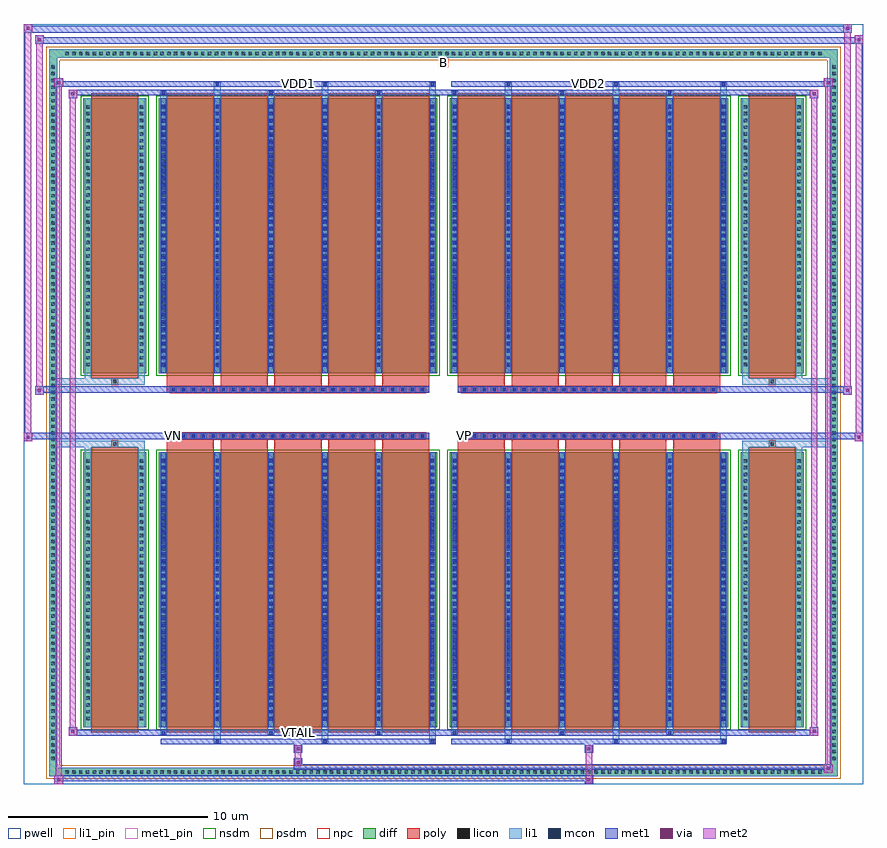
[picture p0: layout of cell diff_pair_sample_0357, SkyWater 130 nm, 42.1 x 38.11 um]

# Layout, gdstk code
import gdstk
lib = gdstk.Library(unit=1e-6, precision=5e-09)
def R(c, l, rs):  # rectangles x0, y0, x1, y1
    for r in rs: c.add(gdstk.rectangle(r[:2], r[2:], *l))
def A(c, l, x, y, w, h, nx, ny, dx, dy):  # array of equal rectangles
    R(c, l, [(x+i*dx, y+j*dy, x+i*dx+w, y+j*dy+h) for i in range(nx) for j in range(ny)])
def P(c, l, *ps):  # polygons
    for p in ps: c.add(gdstk.Polygon(p, *l))
pwell = (64, 44)
diff = (65, 20)
poly = (66, 20)
licon = (66, 44)
li1_pin = (67, 16)
li1 = (67, 20)
mcon = (67, 44)
met1_pin = (68, 16)
met1 = (68, 20)
via = (68, 44)
met2 = (69, 20)
nsdm = (93, 44)
psdm = (94, 20)
npc = (95, 20)

diff_pair_sample_0357 = lib.new_cell('diff_pair_sample_0357')
R(diff_pair_sample_0357, pwell, [(-21.05,-18.62,21.05,19.49), (-18.37,-16.81,-0.01,-0.805), (0.01,-16.81,18.37,-0.805), (-18.37,0.805,-0.01,16.81), (0.01,0.805,18.37,16.81)])
A(diff_pair_sample_0357, diff, -19.075, -18.22, 0.41, 0.41, 112, 2, 0.34, 36.03)
A(diff_pair_sample_0357, diff, -19.78, -17.545, 0.41, 0.41, 1, 103, 0, 0.34)
A(diff_pair_sample_0357, diff, 19.37, -17.545, 0.41, 0.41, 1, 103, 0, 0.34)
R(diff_pair_sample_0357, diff, [(-19.075,-18.22,19.075,-17.81), (-19.78,-17.545,-19.37,17.545), (19.37,-17.545,19.78,17.545), (-18.06,-15.765,-14.91,-1.985), (-14.27,-15.765,-0.32,-1.985), (0.32,-15.765,14.27,-1.985), (14.91,-15.765,18.06,-1.985), (-18.06,1.985,-14.91,15.765), (-14.27,1.985,-0.32,15.765), (0.32,1.985,14.27,15.765), (14.91,1.985,18.06,15.765), (-19.075,17.81,19.075,18.22)])
P(diff_pair_sample_0357, diff, [(19.78,18.22),(-19.78,18.22),(-19.78,-17.81),(-19.37,-17.81),(-19.37,17.81),(19.37,17.81),(19.37,-17.81),(-19.37,-17.81),(-19.78,-17.81),(-19.78,-18.22),(19.78,-18.22)])
A(diff_pair_sample_0357, poly, -13.88, -16.015, 2.37, 14.28, 5, 2, 2.7, 17.75)
A(diff_pair_sample_0357, poly, 0.71, -16.015, 2.37, 14.28, 5, 2, 2.7, 17.75)
A(diff_pair_sample_0357, poly, -13.88, -1.735, 2.37, 0.4, 5, 2, 2.7, 3.07)
A(diff_pair_sample_0357, poly, 0.71, -1.735, 2.37, 0.4, 5, 2, 2.7, 3.07)
A(diff_pair_sample_0357, poly, -13.71, -1.335, 0.33, 0.33, 26, 2, 0.5, 2.34)
A(diff_pair_sample_0357, poly, 0.88, -1.335, 0.33, 0.33, 26, 2, 0.5, 2.34)
R(diff_pair_sample_0357, poly, [(-17.67,-16.015,-15.3,-1.735), (15.3,-16.015,17.67,-1.735), (-16.65,-1.735,-16.32,-1.405), (-16.65,-1.735,-16.32,-1.405), (16.32,-1.735,16.65,-1.405), (16.32,-1.735,16.65,-1.405), (-13.88,-1.335,-0.71,-1.005), (0.71,-1.335,13.88,-1.005), (-13.88,1.005,-0.71,1.335), (0.71,1.005,13.88,1.335), (-16.65,1.405,-16.32,1.735), (-16.65,1.405,-16.32,1.735), (16.32,1.405,16.65,1.735), (16.32,1.405,16.65,1.735), (-17.67,1.735,-15.3,16.015), (15.3,1.735,17.67,16.015)])
A(diff_pair_sample_0357, licon, -18.955, -18.1, 0.17, 0.17, 112, 2, 0.34, 36.03)
A(diff_pair_sample_0357, licon, -19.66, -17.425, 0.17, 0.17, 1, 103, 0, 0.34)
A(diff_pair_sample_0357, licon, 19.49, -17.425, 0.17, 0.17, 1, 103, 0, 0.34)
A(diff_pair_sample_0357, licon, -17.92, -15.42, 0.17, 0.17, 1, 39, 0, 0.34)
A(diff_pair_sample_0357, licon, -15.22, -15.42, 0.17, 0.17, 1, 39, 0, 0.34)
A(diff_pair_sample_0357, licon, -14.13, -15.42, 0.17, 0.17, 6, 39, 2.7, 0.34)
A(diff_pair_sample_0357, licon, 0.46, -15.42, 0.17, 0.17, 6, 39, 2.7, 0.34)
A(diff_pair_sample_0357, licon, 15.05, -15.42, 0.17, 0.17, 1, 39, 0, 0.34)
A(diff_pair_sample_0357, licon, 17.75, -15.42, 0.17, 0.17, 1, 39, 0, 0.34)
A(diff_pair_sample_0357, licon, -13.63, -1.255, 0.17, 0.17, 26, 2, 0.5, 2.34)
A(diff_pair_sample_0357, licon, 0.96, -1.255, 0.17, 0.17, 26, 2, 0.5, 2.34)
A(diff_pair_sample_0357, licon, -17.92, 2.33, 0.17, 0.17, 1, 39, 0, 0.34)
A(diff_pair_sample_0357, licon, -15.22, 2.33, 0.17, 0.17, 1, 39, 0, 0.34)
A(diff_pair_sample_0357, licon, -14.13, 2.33, 0.17, 0.17, 6, 39, 2.7, 0.34)
A(diff_pair_sample_0357, licon, 0.46, 2.33, 0.17, 0.17, 6, 39, 2.7, 0.34)
A(diff_pair_sample_0357, licon, 15.05, 2.33, 0.17, 0.17, 1, 39, 0, 0.34)
A(diff_pair_sample_0357, licon, 17.75, 2.33, 0.17, 0.17, 1, 39, 0, 0.34)
R(diff_pair_sample_0357, licon, [(-16.57,-1.655,-16.4,-1.485), (16.4,-1.655,16.57,-1.485), (-16.57,1.485,-16.4,1.655), (16.4,1.485,16.57,1.655)])
R(diff_pair_sample_0357, li1_pin, [(-0.25,17.31,0.25,17.81)])
A(diff_pair_sample_0357, li1, -19.035, -18.18, 0.33, 0.33, 112, 2, 0.34, 36.03)
A(diff_pair_sample_0357, li1, -19.74, -17.505, 0.33, 0.33, 1, 103, 0, 0.34)
A(diff_pair_sample_0357, li1, 19.41, -17.505, 0.33, 0.33, 1, 103, 0, 0.34)
A(diff_pair_sample_0357, li1, -11.51, -16.57, 0.33, 0.805, 3, 2, 5.4, 32.335)
A(diff_pair_sample_0357, li1, -11.43, -16.57, 0.17, 0.17, 3, 2, 5.4, 32.97)
A(diff_pair_sample_0357, li1, 3.08, -16.57, 0.33, 0.805, 3, 2, 5.4, 32.335)
A(diff_pair_sample_0357, li1, 3.16, -16.57, 0.17, 0.17, 3, 2, 5.4, 32.97)
A(diff_pair_sample_0357, li1, -14.21, -16.14, 0.33, 0.375, 3, 2, 5.4, 31.905)
A(diff_pair_sample_0357, li1, -14.13, -16.14, 0.17, 0.17, 3, 2, 5.4, 32.11)
A(diff_pair_sample_0357, li1, 0.38, -16.14, 0.33, 0.375, 3, 2, 5.4, 31.905)
A(diff_pair_sample_0357, li1, 0.46, -16.14, 0.17, 0.17, 3, 2, 5.4, 32.11)
A(diff_pair_sample_0357, li1, -14.21, -15.765, 0.33, 13.78, 6, 2, 2.7, 17.75)
A(diff_pair_sample_0357, li1, 0.38, -15.765, 0.33, 13.78, 6, 2, 2.7, 17.75)
A(diff_pair_sample_0357, li1, -18, -15.5, 0.33, 0.33, 1, 39, 0, 0.34)
A(diff_pair_sample_0357, li1, -15.3, -15.5, 0.33, 0.33, 1, 39, 0, 0.34)
A(diff_pair_sample_0357, li1, -14.21, -15.5, 0.33, 0.33, 6, 39, 2.7, 0.34)
A(diff_pair_sample_0357, li1, 0.38, -15.5, 0.33, 0.33, 6, 39, 2.7, 0.34)
A(diff_pair_sample_0357, li1, 14.97, -15.5, 0.33, 0.33, 1, 39, 0, 0.34)
A(diff_pair_sample_0357, li1, 17.67, -15.5, 0.33, 0.33, 1, 39, 0, 0.34)
A(diff_pair_sample_0357, li1, -14.13, -15.44, 0.17, 0.17, 6, 37, 2.7, 0.36)
A(diff_pair_sample_0357, li1, -14.13, -15.44, 0.17, 13.13, 6, 2, 2.7, 17.75)
A(diff_pair_sample_0357, li1, 0.46, -15.44, 0.17, 0.17, 6, 37, 2.7, 0.36)
A(diff_pair_sample_0357, li1, 0.46, -15.44, 0.17, 13.13, 6, 2, 2.7, 17.75)
A(diff_pair_sample_0357, li1, -13.71, -1.335, 0.33, 0.33, 26, 2, 0.5, 2.34)
A(diff_pair_sample_0357, li1, 0.88, -1.335, 0.33, 0.33, 26, 2, 0.5, 2.34)
A(diff_pair_sample_0357, li1, -18, 2.25, 0.33, 0.33, 1, 39, 0, 0.34)
A(diff_pair_sample_0357, li1, -15.3, 2.25, 0.33, 0.33, 1, 39, 0, 0.34)
A(diff_pair_sample_0357, li1, -14.21, 2.25, 0.33, 0.33, 6, 39, 2.7, 0.34)
A(diff_pair_sample_0357, li1, 0.38, 2.25, 0.33, 0.33, 6, 39, 2.7, 0.34)
A(diff_pair_sample_0357, li1, 14.97, 2.25, 0.33, 0.33, 1, 39, 0, 0.34)
A(diff_pair_sample_0357, li1, 17.67, 2.25, 0.33, 0.33, 1, 39, 0, 0.34)
A(diff_pair_sample_0357, li1, -14.13, 2.31, 0.17, 0.17, 6, 37, 2.7, 0.36)
A(diff_pair_sample_0357, li1, 0.46, 2.31, 0.17, 0.17, 6, 37, 2.7, 0.36)
R(diff_pair_sample_0357, li1, [(-19.78,-18.22,-19.37,-17.81), (-19.78,-18.22,-19.37,-17.81), (-19.37,-18.22,19.37,-17.81), (19.37,-18.22,19.78,-17.81), (19.37,-18.22,19.78,-17.81), (-19.78,-17.81,-19.37,17.81), (19.37,-17.81,19.78,17.81), (-18,-15.765,-17.67,-1.985), (-15.3,-15.765,-14.97,-1.985), (14.97,-15.765,15.3,-1.985), (17.67,-15.765,18,-1.985), (-18,-1.985,-17.67,-1.405), (-15.3,-1.985,-14.97,-1.405), (14.97,-1.985,15.3,-1.405), (17.67,-1.985,18,-1.405), (-19.78,-1.735,-16.65,-1.405), (-18,-1.735,-16.65,-1.405), (-16.65,-1.735,-16.32,-1.405), (-16.32,-1.735,-14.97,-1.405), (14.97,-1.735,16.32,-1.405), (16.32,-1.735,16.65,-1.405), (16.32,-1.735,19.78,-1.405), (16.65,-1.735,18,-1.405), (-19.78,1.405,-16.65,1.735), (-18,1.405,-16.65,1.735), (-18,1.405,-17.67,1.985), (-16.65,1.405,-16.32,1.735), (-16.32,1.405,-14.97,1.735), (-15.3,1.405,-14.97,1.985), (14.97,1.405,16.32,1.735), (14.97,1.405,15.3,1.985), (16.32,1.405,16.65,1.735), (16.32,1.405,19.78,1.735), (16.65,1.405,18,1.735), (17.67,1.405,18,1.985), (-18,1.985,-17.67,15.765), (-15.3,1.985,-14.97,15.765), (14.97,1.985,15.3,15.765), (17.67,1.985,18,15.765), (-19.78,17.81,-19.37,18.22), (-19.78,17.81,-19.37,18.22), (-19.37,17.81,19.37,18.22), (19.37,17.81,19.78,18.22), (19.37,17.81,19.78,18.22)])
A(diff_pair_sample_0357, mcon, -11.43, -16.57, 0.17, 0.17, 3, 2, 5.4, 32.97)
A(diff_pair_sample_0357, mcon, 3.16, -16.57, 0.17, 0.17, 3, 2, 5.4, 32.97)
A(diff_pair_sample_0357, mcon, -14.13, -16.14, 0.17, 0.17, 3, 2, 5.4, 32.11)
A(diff_pair_sample_0357, mcon, 0.46, -16.14, 0.17, 0.17, 3, 2, 5.4, 32.11)
A(diff_pair_sample_0357, mcon, -14.13, -15.44, 0.17, 0.17, 6, 37, 2.7, 0.36)
A(diff_pair_sample_0357, mcon, 0.46, -15.44, 0.17, 0.17, 6, 37, 2.7, 0.36)
A(diff_pair_sample_0357, mcon, -13.63, -1.255, 0.17, 0.17, 26, 2, 0.5, 2.34)
A(diff_pair_sample_0357, mcon, 0.96, -1.255, 0.17, 0.17, 26, 2, 0.5, 2.34)
A(diff_pair_sample_0357, mcon, -14.13, 2.31, 0.17, 0.17, 6, 37, 2.7, 0.36)
A(diff_pair_sample_0357, mcon, 0.46, 2.31, 0.17, 0.17, 6, 37, 2.7, 0.36)
R(diff_pair_sample_0357, met1_pin, [(-7.43,-16.18,-7.16,-15.91), (-13.68,-1.295,-13.41,-1.025), (0.91,-1.295,1.18,-1.025), (-7.43,16.36,-7.16,16.63), (7.16,16.36,7.43,16.63)])
A(diff_pair_sample_0357, met1, -11.49, -16.63, 0.29, 0.29, 3, 2, 5.4, 32.97)
A(diff_pair_sample_0357, met1, 3.1, -16.63, 0.29, 0.29, 3, 2, 5.4, 32.97)
A(diff_pair_sample_0357, met1, -14.19, -16.2, 0.29, 0.29, 3, 2, 5.4, 32.11)
A(diff_pair_sample_0357, met1, 0.4, -16.2, 0.29, 0.29, 3, 2, 5.4, 32.11)
A(diff_pair_sample_0357, met1, -14.19, -15.765, 0.29, 13.78, 6, 2, 2.7, 17.75)
A(diff_pair_sample_0357, met1, 0.4, -15.765, 0.29, 13.78, 6, 2, 2.7, 17.75)
A(diff_pair_sample_0357, met1, -14.19, -15.5, 0.29, 0.29, 6, 37, 2.7, 0.36)
A(diff_pair_sample_0357, met1, 0.4, -15.5, 0.29, 0.29, 6, 37, 2.7, 0.36)
A(diff_pair_sample_0357, met1, -13.69, -1.315, 0.29, 0.29, 26, 2, 0.5, 2.34)
A(diff_pair_sample_0357, met1, 0.9, -1.315, 0.29, 0.29, 26, 2, 0.5, 2.34)
A(diff_pair_sample_0357, met1, -14.19, 2.25, 0.29, 0.29, 6, 37, 2.7, 0.36)
A(diff_pair_sample_0357, met1, 0.4, 2.25, 0.29, 0.29, 6, 37, 2.7, 0.36)
R(diff_pair_sample_0357, met1, [(-19.51,-18.62,-19.08,-18.19), (7.08,-18.62,7.51,-18.19), (-19.51,-18.48,7.51,-18.19), (19.08,-18.05,19.51,-17.62), (-7.51,-17.91,19.51,-17.62), (-7.51,-17.77,-7.08,-17.34), (-7.51,-17.06,-7.08,-16.63), (7.08,-17.06,7.51,-16.63), (-14.19,-16.63,-0.4,-16.34), (0.4,-16.63,14.19,-16.34), (-18.8,-16.2,-18.37,-15.77), (-18.8,-16.2,-14.19,-15.91), (-14.19,-16.2,-0.4,-15.91), (-0.4,-16.2,0.4,-15.91), (0.4,-16.2,14.19,-15.91), (14.19,-16.2,18.8,-15.91), (18.37,-16.2,18.8,-15.77), (-21.05,-1.435,-20.62,-1.005), (20.62,-1.435,21.05,-1.005), (-21.05,-1.335,-0.71,-1.005), (-13.88,-1.335,-0.71,-1.005), (0.71,-1.335,13.88,-1.005), (0.71,-1.335,21.05,-1.005), (-20.48,0.905,-20.05,1.335), (20.05,0.905,20.48,1.335), (-20.48,1.005,-13.88,1.335), (-13.88,1.005,-0.71,1.335), (0.71,1.005,13.88,1.335), (13.88,1.005,20.48,1.335), (-18.8,15.77,-18.37,16.2), (18.37,15.77,18.8,16.2), (-18.8,15.91,-14.19,16.2), (-14.19,15.91,-0.4,16.2), (-0.4,15.91,0.4,16.2), (0.4,15.91,14.19,16.2), (14.19,15.91,18.8,16.2), (-19.51,16.34,-19.08,16.77), (-19.51,16.34,-14.19,16.63), (-14.19,16.34,-0.4,16.63), (0.4,16.34,14.19,16.63), (14.19,16.34,19.51,16.63), (19.08,16.34,19.51,16.77), (-20.48,18.49,-20.05,18.92), (-20.48,18.49,-18.37,18.82), (-18.37,18.49,18.37,18.82), (18.37,18.49,21.05,18.82), (20.62,18.49,21.05,18.92), (-21.05,19.06,-20.62,19.49), (-21.05,19.06,-18.37,19.39), (-18.37,19.06,18.37,19.39), (18.37,19.06,20.48,19.39), (20.05,19.06,20.48,19.49)])
R(diff_pair_sample_0357, via, [(-19.37,-18.48,-19.22,-18.33), (7.22,-18.48,7.37,-18.33), (19.22,-17.91,19.37,-17.76), (-7.37,-17.63,-7.22,-17.48), (-7.37,-16.92,-7.22,-16.77), (7.22,-16.92,7.37,-16.77), (-18.66,-16.06,-18.51,-15.91), (18.51,-16.06,18.66,-15.91), (-20.91,-1.295,-20.76,-1.145), (20.76,-1.295,20.91,-1.145), (-20.34,1.045,-20.19,1.195), (20.19,1.045,20.34,1.195), (-18.66,15.91,-18.51,16.06), (18.51,15.91,18.66,16.06), (-19.37,16.48,-19.22,16.63), (19.22,16.48,19.37,16.63), (-20.34,18.63,-20.19,18.78), (20.76,18.63,20.91,18.78), (-20.91,19.2,-20.76,19.35), (20.19,19.2,20.34,19.35)])
R(diff_pair_sample_0357, met2, [(-19.51,-18.62,-19.08,-18.19), (-19.44,-18.62,-19.15,16.77), (-19.15,-18.62,-19.08,-18.19), (-19.46,-18.57,-19.13,-18.24), (7.13,-18.57,7.46,-18.24), (7.13,-18.24,7.46,-17.01), (19.08,-18.05,19.51,-17.62), (19.15,-18.05,19.44,16.77), (19.44,-18.05,19.51,-17.62), (19.13,-18,19.46,-17.67), (-7.46,-17.72,-7.13,-17.39), (-7.46,-17.39,-7.13,-17.01), (-7.46,-17.01,-7.13,-16.68), (7.13,-17.01,7.46,-16.68), (-18.8,-16.2,-18.37,-15.77), (-18.73,-16.2,-18.44,16.2), (-18.44,-16.2,-18.37,-15.77), (18.37,-16.2,18.8,-15.77), (18.44,-16.2,18.73,16.2), (18.73,-16.2,18.8,-15.77), (-18.75,-16.15,-18.42,-15.82), (18.42,-16.15,18.75,-15.82), (-21.05,-1.435,-20.62,-1.005), (-21,-1.435,-20.67,19.49), (-20.67,-1.435,-20.62,-1.005), (20.62,-1.435,21.05,-1.005), (20.67,-1.435,21,18.92), (21,-1.435,21.05,-1.005), (-21,-1.385,-20.67,-1.055), (20.67,-1.385,21,-1.055), (-20.48,0.905,-20.05,1.335), (-20.43,0.905,-20.1,18.92), (-20.1,0.905,-20.05,1.335), (20.05,0.905,20.48,1.335), (20.1,0.905,20.43,19.49), (20.43,0.905,20.48,1.335), (-20.43,0.955,-20.1,1.285), (20.1,0.955,20.43,1.285), (-18.8,15.77,-18.37,16.2), (-18.44,15.77,-18.37,16.2), (18.37,15.77,18.8,16.2), (18.73,15.77,18.8,16.2), (-18.75,15.82,-18.42,16.15), (18.42,15.82,18.75,16.15), (-19.51,16.34,-19.08,16.77), (-19.15,16.34,-19.08,16.77), (19.08,16.34,19.51,16.77), (19.44,16.34,19.51,16.77), (-19.46,16.39,-19.13,16.72), (19.13,16.39,19.46,16.72), (-20.48,18.49,-20.05,18.92), (-20.1,18.49,-20.05,18.92), (20.62,18.49,21.05,18.92), (21,18.49,21.05,18.92), (-20.43,18.54,-20.1,18.87), (20.67,18.54,21,18.87), (-21.05,19.06,-20.62,19.49), (-20.67,19.06,-20.62,19.49), (20.05,19.06,20.48,19.49), (20.43,19.06,20.48,19.49), (-21,19.11,-20.67,19.44), (20.1,19.11,20.43,19.44)])
R(diff_pair_sample_0357, nsdm, [(-18.19,-15.895,-14.78,-1.855), (-14.4,-15.895,-0.19,-1.855), (0.19,-15.895,14.4,-1.855), (14.78,-15.895,18.19,-1.855), (-18.19,1.855,-14.78,15.895), (-14.4,1.855,-0.19,15.895), (0.19,1.855,14.4,15.895), (14.78,1.855,18.19,15.895)])
P(diff_pair_sample_0357, psdm, [(19.91,18.35),(-19.91,18.35),(-19.91,-17.68),(-19.24,-17.68),(-19.24,17.68),(19.24,17.68),(19.24,-17.68),(-19.24,-17.68),(-19.91,-17.68),(-19.91,-18.35),(19.91,-18.35)])
A(diff_pair_sample_0357, npc, -13.73, -1.355, 0.37, 0.37, 26, 2, 0.5, 2.34)
A(diff_pair_sample_0357, npc, 0.86, -1.355, 0.37, 0.37, 26, 2, 0.5, 2.34)
R(diff_pair_sample_0357, npc, [(-16.67,-1.755,-16.3,-1.385), (16.3,-1.755,16.67,-1.385), (-13.73,-1.355,-12.86,-0.985), (-13.73,-1.355,-12.86,-0.985), (-13.23,-1.355,-12.36,-0.985), (-13.23,-1.355,-12.36,-0.985), (-12.73,-1.355,-11.86,-0.985), (-12.73,-1.355,-11.86,-0.985), (-12.23,-1.355,-11.36,-0.985), (-12.23,-1.355,-11.36,-0.985), (-11.73,-1.355,-10.86,-0.985), (-11.73,-1.355,-10.86,-0.985), (-11.23,-1.355,-10.36,-0.985), (-11.23,-1.355,-10.36,-0.985), (-10.73,-1.355,-9.86,-0.985), (-10.73,-1.355,-9.86,-0.985), (-10.23,-1.355,-9.36,-0.985), (-10.23,-1.355,-9.36,-0.985), (-9.73,-1.355,-8.86,-0.985), (-9.73,-1.355,-8.86,-0.985), (-9.23,-1.355,-8.36,-0.985), (-9.23,-1.355,-8.36,-0.985), (-8.73,-1.355,-7.86,-0.985), (-8.73,-1.355,-7.86,-0.985), (-8.23,-1.355,-7.36,-0.985), (-8.23,-1.355,-7.36,-0.985), (-7.73,-1.355,-6.86,-0.985), (-7.73,-1.355,-6.86,-0.985), (-7.23,-1.355,-6.36,-0.985), (-7.23,-1.355,-6.36,-0.985), (-6.73,-1.355,-5.86,-0.985), (-6.73,-1.355,-5.86,-0.985), (-6.23,-1.355,-5.36,-0.985), (-6.23,-1.355,-5.36,-0.985), (-5.73,-1.355,-4.86,-0.985), (-5.73,-1.355,-4.86,-0.985), (-5.23,-1.355,-4.36,-0.985), (-5.23,-1.355,-4.36,-0.985), (-4.73,-1.355,-3.86,-0.985), (-4.73,-1.355,-3.86,-0.985), (-4.23,-1.355,-3.36,-0.985), (-4.23,-1.355,-3.36,-0.985), (-3.73,-1.355,-2.86,-0.985), (-3.73,-1.355,-2.86,-0.985), (-3.23,-1.355,-2.36,-0.985), (-3.23,-1.355,-2.36,-0.985), (-2.73,-1.355,-1.86,-0.985), (-2.73,-1.355,-1.86,-0.985), (-2.23,-1.355,-1.36,-0.985), (-2.23,-1.355,-1.36,-0.985), (-1.73,-1.355,-0.86,-0.985), (-1.73,-1.355,-0.86,-0.985), (0.86,-1.355,1.73,-0.985), (0.86,-1.355,1.73,-0.985), (1.36,-1.355,2.23,-0.985), (1.36,-1.355,2.23,-0.985), (1.86,-1.355,2.73,-0.985), (1.86,-1.355,2.73,-0.985), (2.36,-1.355,3.23,-0.985), (2.36,-1.355,3.23,-0.985), (2.86,-1.355,3.73,-0.985), (2.86,-1.355,3.73,-0.985), (3.36,-1.355,4.23,-0.985), (3.36,-1.355,4.23,-0.985), (3.86,-1.355,4.73,-0.985), (3.86,-1.355,4.73,-0.985), (4.36,-1.355,5.23,-0.985), (4.36,-1.355,5.23,-0.985), (4.86,-1.355,5.73,-0.985), (4.86,-1.355,5.73,-0.985), (5.36,-1.355,6.23,-0.985), (5.36,-1.355,6.23,-0.985), (5.86,-1.355,6.73,-0.985), (5.86,-1.355,6.73,-0.985), (6.36,-1.355,7.23,-0.985), (6.36,-1.355,7.23,-0.985), (6.86,-1.355,7.73,-0.985), (6.86,-1.355,7.73,-0.985), (7.36,-1.355,8.23,-0.985), (7.36,-1.355,8.23,-0.985), (7.86,-1.355,8.73,-0.985), (7.86,-1.355,8.73,-0.985), (8.36,-1.355,9.23,-0.985), (8.36,-1.355,9.23,-0.985), (8.86,-1.355,9.73,-0.985), (8.86,-1.355,9.73,-0.985), (9.36,-1.355,10.23,-0.985), (9.36,-1.355,10.23,-0.985), (9.86,-1.355,10.73,-0.985), (9.86,-1.355,10.73,-0.985), (10.36,-1.355,11.23,-0.985), (10.36,-1.355,11.23,-0.985), (10.86,-1.355,11.73,-0.985), (10.86,-1.355,11.73,-0.985), (11.36,-1.355,12.23,-0.985), (11.36,-1.355,12.23,-0.985), (11.86,-1.355,12.73,-0.985), (11.86,-1.355,12.73,-0.985), (12.36,-1.355,13.23,-0.985), (12.36,-1.355,13.23,-0.985), (12.86,-1.355,13.73,-0.985), (12.86,-1.355,13.73,-0.985), (-13.73,0.985,-12.86,1.355), (-13.73,0.985,-12.86,1.355), (-13.23,0.985,-12.36,1.355), (-13.23,0.985,-12.36,1.355), (-12.73,0.985,-11.86,1.355), (-12.73,0.985,-11.86,1.355), (-12.23,0.985,-11.36,1.355), (-12.23,0.985,-11.36,1.355), (-11.73,0.985,-10.86,1.355), (-11.73,0.985,-10.86,1.355), (-11.23,0.985,-10.36,1.355), (-11.23,0.985,-10.36,1.355), (-10.73,0.985,-9.86,1.355), (-10.73,0.985,-9.86,1.355), (-10.23,0.985,-9.36,1.355), (-10.23,0.985,-9.36,1.355), (-9.73,0.985,-8.86,1.355), (-9.73,0.985,-8.86,1.355), (-9.23,0.985,-8.36,1.355), (-9.23,0.985,-8.36,1.355), (-8.73,0.985,-7.86,1.355), (-8.73,0.985,-7.86,1.355), (-8.23,0.985,-7.36,1.355), (-8.23,0.985,-7.36,1.355), (-7.73,0.985,-6.86,1.355), (-7.73,0.985,-6.86,1.355), (-7.23,0.985,-6.36,1.355), (-7.23,0.985,-6.36,1.355), (-6.73,0.985,-5.86,1.355), (-6.73,0.985,-5.86,1.355), (-6.23,0.985,-5.36,1.355), (-6.23,0.985,-5.36,1.355), (-5.73,0.985,-4.86,1.355), (-5.73,0.985,-4.86,1.355), (-5.23,0.985,-4.36,1.355), (-5.23,0.985,-4.36,1.355), (-4.73,0.985,-3.86,1.355), (-4.73,0.985,-3.86,1.355), (-4.23,0.985,-3.36,1.355), (-4.23,0.985,-3.36,1.355), (-3.73,0.985,-2.86,1.355), (-3.73,0.985,-2.86,1.355), (-3.23,0.985,-2.36,1.355), (-3.23,0.985,-2.36,1.355), (-2.73,0.985,-1.86,1.355), (-2.73,0.985,-1.86,1.355), (-2.23,0.985,-1.36,1.355), (-2.23,0.985,-1.36,1.355), (-1.73,0.985,-0.86,1.355), (-1.73,0.985,-0.86,1.355), (0.86,0.985,1.73,1.355), (0.86,0.985,1.73,1.355), (1.36,0.985,2.23,1.355), (1.36,0.985,2.23,1.355), (1.86,0.985,2.73,1.355), (1.86,0.985,2.73,1.355), (2.36,0.985,3.23,1.355), (2.36,0.985,3.23,1.355), (2.86,0.985,3.73,1.355), (2.86,0.985,3.73,1.355), (3.36,0.985,4.23,1.355), (3.36,0.985,4.23,1.355), (3.86,0.985,4.73,1.355), (3.86,0.985,4.73,1.355), (4.36,0.985,5.23,1.355), (4.36,0.985,5.23,1.355), (4.86,0.985,5.73,1.355), (4.86,0.985,5.73,1.355), (5.36,0.985,6.23,1.355), (5.36,0.985,6.23,1.355), (5.86,0.985,6.73,1.355), (5.86,0.985,6.73,1.355), (6.36,0.985,7.23,1.355), (6.36,0.985,7.23,1.355), (6.86,0.985,7.73,1.355), (6.86,0.985,7.73,1.355), (7.36,0.985,8.23,1.355), (7.36,0.985,8.23,1.355), (7.86,0.985,8.73,1.355), (7.86,0.985,8.73,1.355), (8.36,0.985,9.23,1.355), (8.36,0.985,9.23,1.355), (8.86,0.985,9.73,1.355), (8.86,0.985,9.73,1.355), (9.36,0.985,10.23,1.355), (9.36,0.985,10.23,1.355), (9.86,0.985,10.73,1.355), (9.86,0.985,10.73,1.355), (10.36,0.985,11.23,1.355), (10.36,0.985,11.23,1.355), (10.86,0.985,11.73,1.355), (10.86,0.985,11.73,1.355), (11.36,0.985,12.23,1.355), (11.36,0.985,12.23,1.355), (11.86,0.985,12.73,1.355), (11.86,0.985,12.73,1.355), (12.36,0.985,13.23,1.355), (12.36,0.985,13.23,1.355), (12.86,0.985,13.73,1.355), (12.86,0.985,13.73,1.355), (-16.67,1.385,-16.3,1.755), (16.3,1.385,16.67,1.755)])
diff_pair_sample_0357.add(gdstk.Label('VTAIL', (-7.295,-16.045), layer=68, texttype=5))
diff_pair_sample_0357.add(gdstk.Label('VN', (-13.545,-1.16), layer=68, texttype=5))
diff_pair_sample_0357.add(gdstk.Label('VP', (1.045,-1.16), layer=68, texttype=5))
diff_pair_sample_0357.add(gdstk.Label('B', (0,17.56), layer=67, texttype=5))
diff_pair_sample_0357.add(gdstk.Label('VDD2', (7.295,16.495), layer=68, texttype=5))
diff_pair_sample_0357.add(gdstk.Label('VDD1', (-7.295,16.495), layer=68, texttype=5))

lib.write_gds('diff_pair_sample_0357.gds')
